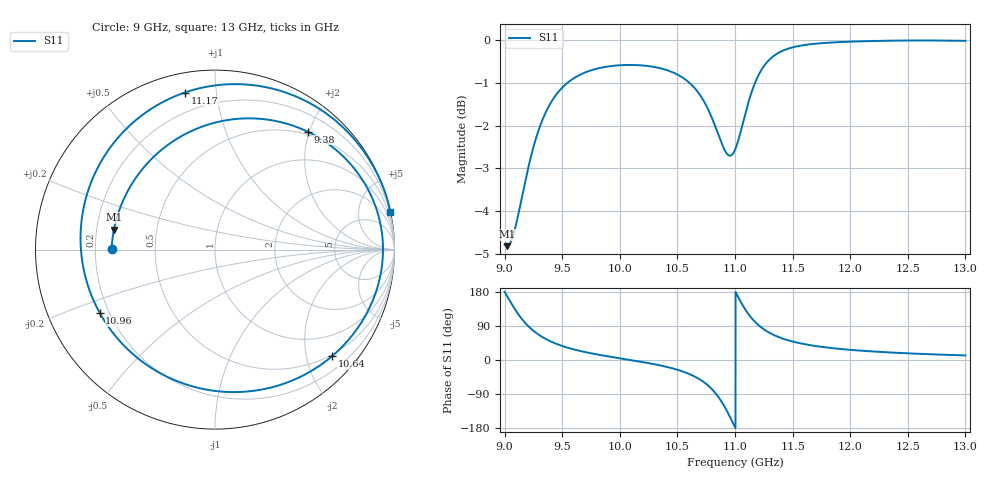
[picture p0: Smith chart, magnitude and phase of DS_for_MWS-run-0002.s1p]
! TOUCHSTONE file generated by CST DESIGN STUDIO
! Date and time: Tue Feb  4 18:41:34 2025
! Project name: C:\Work\MatlabApps\UnitCellOptimizationMatlab\CST\unitcell.cst
! Tree item: Tasks\Sweep1\SPara1\S-Parameters
! Header version: 2024
! Port assignment regex: !\s*Touchstone port\s*([0-9]+)\s*=\s*(CST MWS port|CST DES external port|CST DES block port)\s*(.+)\s* \(\"(.*)\"\)(\s*mode\s*([0-9]+))?.*
! Touchstone port assignment:
! Touchstone port 1 = CST DES external port 1 ("")
# GHz S MA R 50
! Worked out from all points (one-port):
!   4001 points, 9 GHz to 13 GHz, reference 50 ohm
!   lowest |S11| = -4.8 dB at 9.021 GHz (marker M1), VSWR 3.69, Z = 13.7 + j4.55 ohm
!   |S11| at or under -10 dB: nowhere
!   S11 on the Smith chart (normalised r, x): 9 GHz: 0.27, +0.00; 9.38 GHz: 0.45, +1.97; 10.64 GHz: 0.47, -2.51; 10.96 GHz: 0.16, -0.25; 11.17 GHz: 0.10, +0.82; 13 GHz: 0.05, +9.44
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9  0.5765 179.8
9.021  0.5739 168.8
9.105  0.6131 126.9
9.18  0.6846 97.5
9.265  0.762 73.5
9.38  0.8354 51.9
9.5  0.8804 37.0
9.709  0.9183 20.2
10  0.9352 4.5
10.289  0.9314 -10.5
10.5  0.9121 -25.8
10.641  0.882 -42.3
10.746  0.841 -62.2
10.839  0.7861 -90.8
10.9  0.7487 -118.2
10.958  0.7326 -151.2
11  0.7445 -177.3
11.042  0.7752 157.7
11.091  0.822 132.4
11.131  0.8588 115.4
11.173  0.8912 100.9
11.234  0.9258 84.6
11.318  0.9547 68.8
11.5  0.9815 48.7
11.704  0.9914 36.7
12  0.9967 26.8
12.5  0.9998 17.6
13  0.9989 12.1
